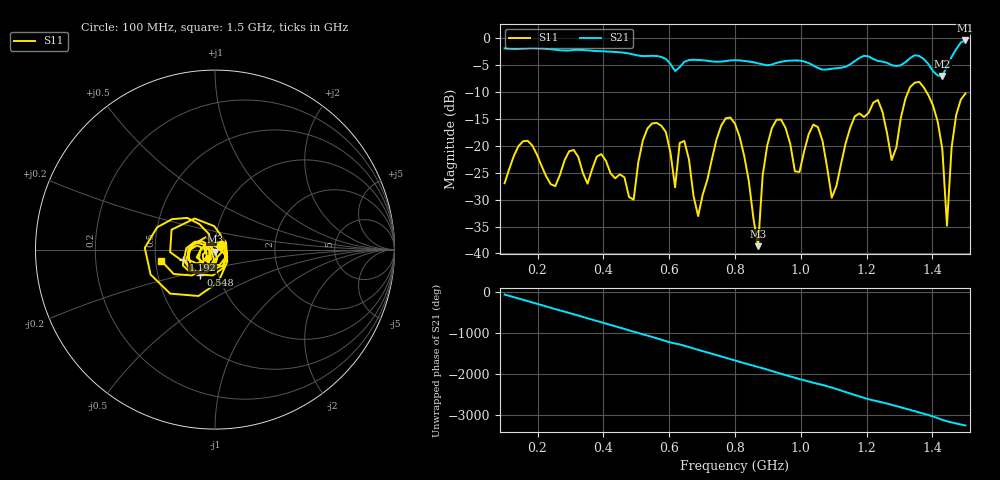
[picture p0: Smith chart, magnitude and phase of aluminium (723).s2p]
! NanoVNA-App
! Date: 2025-09-25 15:00:54
! Start: 100MHz Stop: 1,5GHz Points: 101
! S-Parameter data: F S11 S21 S12 S22
# Hz S RI R 50
!  Frequency  S11_Real  S11_Imag  S21_Real  S21_Imag  S12_Real  S12_Imag  S22_Real  S22_Imag
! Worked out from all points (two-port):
!   101 points, 100 MHz to 1.5 GHz, reference 50 ohm
!   highest |S21| = -0.45 dB at 1.5 GHz (marker M1); lowest = -7.0 dB at 1.43 GHz (marker M2)
!   |S21| within 3 dB of the highest: start of sweep to 571.5 MHz; 1.459 GHz to end of sweep (the widest 2 of 4)
!   lowest |S11| = -38.6 dB at 870 MHz (marker M3), VSWR 1.02, Z = 50.1 - j1.17 ohm
!   |S11| at or under -10 dB: start of sweep to 1.326 GHz; 1.382 GHz to end of sweep
!   S12 and S22 are empty: the file has one direction only
!   S11 on the Smith chart (normalised r, x): 100 MHz: 1.07, +0.06; 548 MHz: 0.82, -0.23; 1.192 GHz: 0.70, -0.08; 1.5 GHz: 0.54, -0.07
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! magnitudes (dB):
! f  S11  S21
! 100 MHz  -27.0  -1.9
! 156 MHz  -19.2  -2.0
! 338 MHz  -25.1  -2.2
! 492 MHz  -30.0  -3.1
! 548 MHz  -15.9  -3.3
! 576 MHz  -16.3  -3.5
! 618 MHz  -27.7  -6.1
! 646 MHz  -19.1  -4.4
! 688 MHz  -33.1  -4.1
! 800 MHz  -15.9  -4.1
! 870 MHz  -38.6  -4.7
! 912 MHz  -16.7  -4.9
! 996 MHz  -24.9  -4.2
! 1.038 GHz  -16.1  -5.1
! 1.094 GHz  -29.6  -5.7
! 1.192 GHz  -14.7  -3.3
! 1.276 GHz  -22.7  -5.0
! 1.346 GHz  -8.3  -3.2
! 1.43 GHz  -20.6  -7.0
! 1.444 GHz  -34.8  -5.3
! 1.458 GHz  -20.4  -3.5
! 1.5 GHz  -10.3  -0.5
